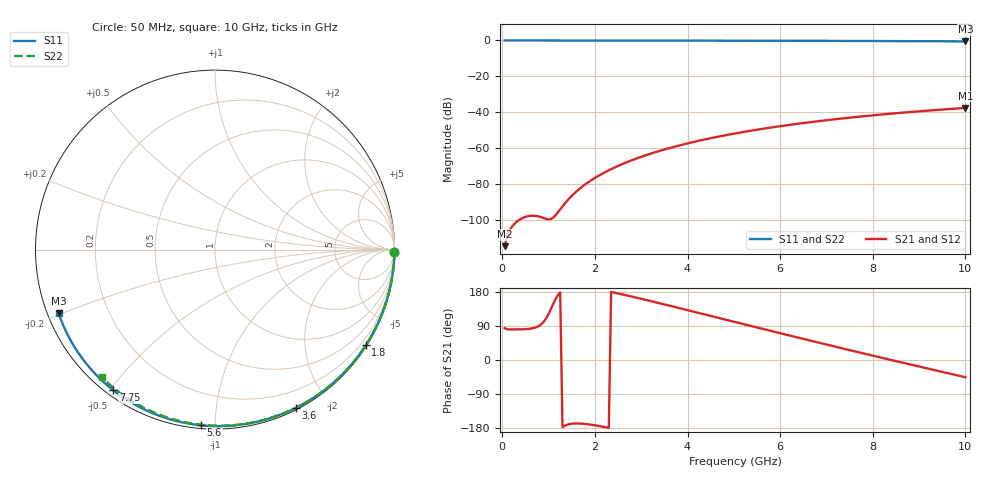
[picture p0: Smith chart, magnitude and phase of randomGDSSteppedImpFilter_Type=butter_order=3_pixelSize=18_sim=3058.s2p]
! freq	dB(S11)	phase(S11)	dB(S12)	phase(S12)
!  dB(S21)	phase(S21)	dB(S22)	phase(S22)
!S-par simulation data
#  GHz  S  DB  R 50
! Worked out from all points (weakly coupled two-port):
!   200 points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, 50 MHz to 10 GHz, reference 50 ohm
!   highest |S21| = -37.52 dB at 10 GHz (marker M1); lowest = -114.4 dB at 50 MHz (marker M2)
!   lowest |S11| = -0.5 dB at 10 GHz (marker M3), VSWR 32.82, Z = 1.58 - j9.74 ohm
!   |S11| at or under -10 dB: nowhere
!   |S22| runs from -0.4 to 0.0 dB; largest |S21 - S12| = 0
!   S11 on the Smith chart (normalised r, x): 50 MHz: open; 1.8 GHz: 0.03, -3.44; 3.6 GHz: 0.02, -1.63; 5.6 GHz: 0.02, -0.92; 7.75 GHz: 0.02, -0.51; 10 GHz: 0.03, -0.19
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0.05  -0.00 -0.9  -114.43 84.1  -114.43 84.1  -0.00 -0.8
0.45  -0.01 -8.2  -98.62 81.1  -98.62 81.1  -0.01 -6.8
0.9  -0.02 -16.4  -98.85 101.7  -98.85 101.7  -0.02 -13.6
1.3  -0.03 -23.5  -92.28 -176.8  -92.28 -176.8  -0.02 -19.6
1.75  -0.04 -31.5  -80.84 -168.2  -80.84 -168.2  -0.03 -26.2
1.8  -0.04 -32.4  -79.89 -168.8  -79.89 -168.8  -0.03 -27.0
1.95  -0.04 -35.0  -77.27 -171.3  -77.27 -171.3  -0.04 -29.2
2.1  -0.05 -37.6  -74.95 -174.4  -74.95 -174.4  -0.04 -31.4
2.3  -0.05 -41.1  -72.22 -179.2  -72.22 -179.2  -0.04 -34.3
2.5  -0.06 -44.6  -69.80 175.6  -69.80 175.6  -0.05 -37.1
2.9  -0.07 -51.4  -65.65 164.4  -65.65 164.4  -0.06 -42.9
3.4  -0.08 -59.8  -61.41 149.7  -61.41 149.7  -0.07 -49.9
3.6  -0.08 -63.1  -59.93 143.7  -59.93 143.7  -0.07 -52.7
4.3  -0.11 -74.4  -55.47 122.4  -55.47 122.4  -0.09 -62.3
5.05  -0.13 -86.1  -51.62 99.5  -51.62 99.5  -0.11 -72.3
5.6  -0.16 -94.5  -49.23 82.8  -49.23 82.8  -0.13 -79.4
6.15  -0.18 -102.7  -47.14 66.2  -47.14 66.2  -0.15 -86.3
6.7  -0.22 -110.8  -45.28 49.7  -45.28 49.7  -0.18 -93.1
7.75  -0.29 -125.8  -42.28 18.8  -42.28 18.8  -0.24 -105.7
8.35  -0.34 -134.4  -40.81 1.4  -40.81 1.4  -0.29 -112.8
9.2  -0.43 -146.4  -39.00 -22.9  -39.00 -22.9  -0.36 -122.5
10  -0.53 -157.9  -37.52 -45.5  -37.52 -45.5  -0.44 -131.6
